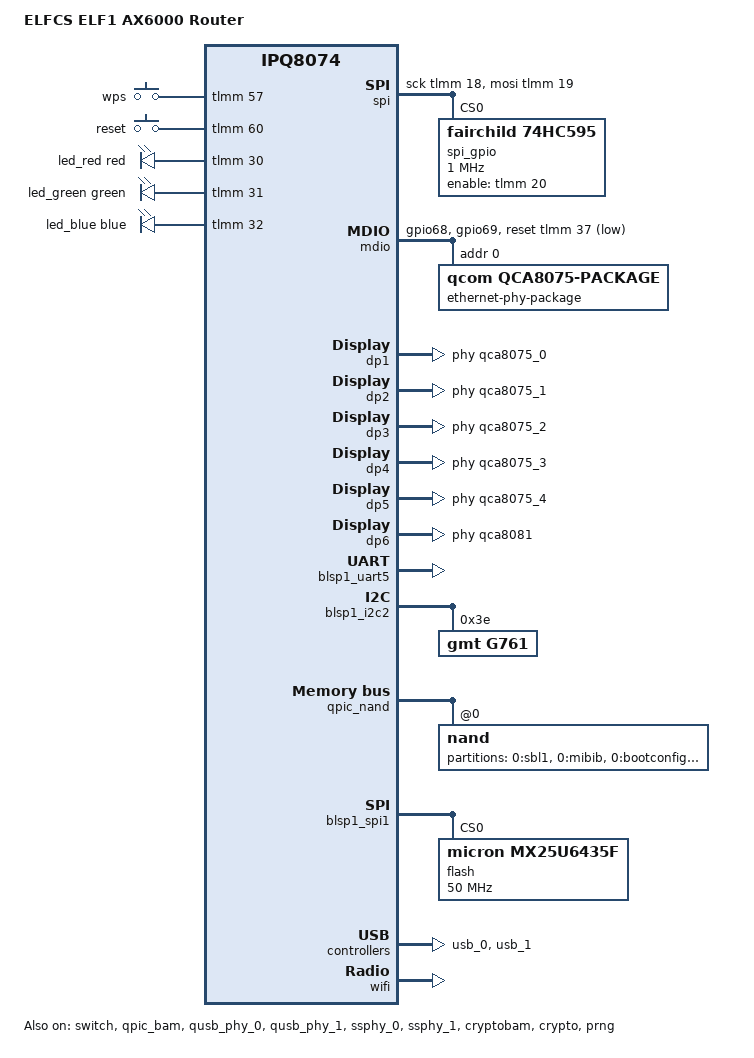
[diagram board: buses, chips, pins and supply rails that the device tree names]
// SPDX-License-Identifier: GPL-2.0-or-later OR MIT

/dts-v1/;

#include "ipq8074.dtsi"
#include "ipq8074-ess.dtsi"
#include "ipq8074-nss.dtsi"
#include "ipq8074-hk-cpu.dtsi"
#include <dt-bindings/input/input.h>
#include <dt-bindings/gpio/gpio.h>
#include <dt-bindings/leds/common.h>

/ {
	model = "ELFCS ELF1 AX6000 Router";
	compatible = "elfcs,elf1", "qcom,ipq8074";

	aliases {
		serial0 = &blsp1_uart5;

		led-boot = &led_red;
		led-failsafe = &led_red;
		led-running = &led_red;
		led-upgrade = &led_red;
		label-mac-device = &dp5;
	};

	chosen {
		stdout-path = "serial0:115200n8";
		bootargs-append = " coherent_pool=2M swiotlb=noforce";
	};

	keys {
		compatible = "gpio-keys";

		wps {
			label = "wps";
			gpios = <&tlmm 57 GPIO_ACTIVE_HIGH>;
			linux,code = <KEY_WPS_BUTTON>;
		};

		reset {
			label = "reset";
			gpios = <&tlmm 60 GPIO_ACTIVE_HIGH>;
			linux,code = <KEY_RESTART>;
		};
	};

	spi {
		compatible = "spi-gpio";
		#address-cells = <1>;
		#size-cells = <0>;

		sck-gpios = <&tlmm 18 GPIO_ACTIVE_HIGH>;
		mosi-gpios = <&tlmm 19 GPIO_ACTIVE_HIGH>;

		spi_gpio: spi_gpio@0 {
			compatible = "fairchild,74hc595";
			reg = <0>;
			gpio-controller;
			#gpio-cells = <2>;
			registers-number = <2>;
			enable-gpios = <&tlmm 20 GPIO_ACTIVE_HIGH>;
			spi-max-frequency = <1000000>;
		};
	};

	leds {
		compatible = "gpio-leds";
		pinctrl-0 = <&led_pins>;
		pinctrl-names = "default";

		led_red: red {
			gpios = <&tlmm 30 GPIO_ACTIVE_HIGH>;
			color = <LED_COLOR_ID_RED>;
			default-state = "on";
		};

		led_green: green {
			gpios = <&tlmm 31 GPIO_ACTIVE_HIGH>;
			color = <LED_COLOR_ID_GREEN>;
			default-state = "off";
		};

		led_blue: blue {
			gpios = <&tlmm 32 GPIO_ACTIVE_HIGH>;
			color = <LED_COLOR_ID_BLUE>;
			default-state = "off";
		};
	};
};

&tlmm {
	mdio_pins: mdio-pins {
		mdc {
			pins = "gpio68";
			function = "mdc";
			drive-strength = <8>;
			bias-pull-up;
		};

		mdio {
			pins = "gpio69";
			function = "mdio";
			drive-strength = <8>;
			bias-pull-up;
		};
	};

	led_pins: led-state {
		power {
			pins = "gpio30";
			function = "gpio";
			drive-strength = <8>;
			bias-pull-up;
		};

		default_off {
			pins = "gpio31", "gpio32";
			function = "gpio";
			drive-strength = <8>;
			bias-pull-down;
		};
	};
};

&mdio {
	status = "okay";

	pinctrl-0 = <&mdio_pins>;
	pinctrl-names = "default";
	reset-gpios = <&tlmm 37 GPIO_ACTIVE_LOW>;

	ethernet-phy-package@0 {
		#address-cells = <1>;
		#size-cells = <0>;
		reg = <0>;

		compatible = "qcom,qca8075-package";

		qca8075_0: ethernet-phy@0 {
			compatible = "ethernet-phy-ieee802.3-c22";
			reg = <0>;
		};

		qca8075_1: ethernet-phy@1 {
			compatible = "ethernet-phy-ieee802.3-c22";
			reg = <1>;
		};

		qca8075_2: ethernet-phy@2 {
			compatible = "ethernet-phy-ieee802.3-c22";
			reg = <2>;
		};

		qca8075_3: ethernet-phy@3 {
			compatible = "ethernet-phy-ieee802.3-c22";
			reg = <3>;
		};

		qca8075_4: ethernet-phy@4 {
			compatible = "ethernet-phy-ieee802.3-c22";
			reg = <4>;
			reset-deassert-us = <10000>;
			reset-gpios = <&tlmm 25 GPIO_ACTIVE_LOW>;
		};

		qca8081: ethernet-phy@28 {
			compatible = "ethernet-phy-id004d.d101";
			reg = <28>;
			reset-deassert-us = <10000>;
			reset-gpios = <&tlmm 44 GPIO_ACTIVE_LOW>;
		};
	};

};

&switch {
	status = "okay";

	switch_lan_bmp = <(ESS_PORT1 | ESS_PORT2 | ESS_PORT3 | ESS_PORT4 | ESS_PORT5)>; /* lan port bitmap */
	switch_wan_bmp = <ESS_PORT6>; /* wan port bitmap */
	switch_mac_mode = <MAC_MODE_PSGMII>;
	switch_mac_mode1 = <MAC_MODE_SGMII_CHANNEL0>;
	switch_mac_mode2 = <MAC_MODE_SGMII_CHANNEL0>;

	qcom,port_phyinfo {
		port@1 {
			port_id = <1>;
			phy_address = <0>;
		};

		port@2 {
			port_id = <2>;
			phy_address = <1>;
		};

		port@3 {
			port_id = <3>;
			phy_address = <2>;
		};

		port@4 {
			port_id = <4>;
			phy_address = <3>;
		};

		port@5 {
			port_id = <5>;
			phy_address = <4>;
			port_mac_sel = "QGMAC_PORT";
		};

		port@6 {
			port_id = <6>;
			phy_address = <28>;
			port_mac_sel = "QGMAC_PORT";
		};
	};
};

&edma {
	status = "okay";
};

&dp1 {
	status = "okay";
	phy-handle = <&qca8075_0>;
	label = "lan1";
	nvmem-cells = <&macaddr_lan>;
	nvmem-cell-names = "mac-address";
};

&dp2 {
	status = "okay";
	phy-handle = <&qca8075_1>;
	label = "lan2";
	nvmem-cells = <&macaddr_lan>;
	nvmem-cell-names = "mac-address";
};

&dp3 {
	status = "okay";
	phy-handle = <&qca8075_2>;
	label = "lan3";
	nvmem-cells = <&macaddr_lan>;
	nvmem-cell-names = "mac-address";
};

&dp4 {
	status = "okay";
	phy-handle = <&qca8075_3>;
	label = "lan4";
	nvmem-cells = <&macaddr_lan>;
	nvmem-cell-names = "mac-address";
};

&dp5 {
	status = "okay";
	phy-handle = <&qca8075_4>;
	qcom,mactype = <1>;
	qcom,link-poll = <1>;
	qcom,phy-mdio-addr = <4>;
	nvmem-cells = <&macaddr_wan>;
	nvmem-cell-names = "mac-address";
};

&dp6 {
	status = "okay";
	phy-handle = <&qca8081>;
	label = "wan";
	qcom,link-poll = <1>;
	qcom,phy-mdio-addr = <28>;
	nvmem-cells = <&macaddr_wan>;
	nvmem-cell-names = "mac-address";
};

&blsp1_uart5 {
	status = "okay";
};

&blsp1_i2c2 {
	status = "okay";

	g761@3e {
		compatible = "gmt,g761";
		reg = <0x3e>;
		fan_gear_mode = <0>;
		fan_start = <1>;
		pwm_polarity = <0>;
	};
};

&qpic_bam {
	status = "okay";
};

&qpic_nand {
	status = "okay";

	nand@0 {
		#address-cells = <1>;
		#size-cells = <1>;
		reg = <0>;
		nand-ecc-strength = <4>;
		nand-ecc-step-size = <512>;
		nand-bus-width = <8>;

		partitions {
			compatible = "fixed-partitions";
			#address-cells = <1>;
			#size-cells = <1>;

			partition@0 {
				label = "0:sbl1";
				reg = <0x00 0x100000>;
				read-only;
			};

			partition@100000 {
				label = "0:mibib";
				reg = <0x100000 0x100000>;
				read-only;
			};

			partition@200000 {
				label = "0:bootconfig";
				reg = <0x200000 0x80000>;
				read-only;
			};

			partition@280000 {
				label = "0:bootconfig_1";
				reg = <0x280000 0x80000>;
				read-only;
			};

			partition@300000 {
				label = "0:qsee";
				reg = <0x300000 0x300000>;
				read-only;
			};

			partition@600000 {
				label = "0:qsee_1";
				reg = <0x600000 0x300000>;
				read-only;
			};

			partition@900000 {
				label = "0:devcfg";
				reg = <0x900000 0x80000>;
				read-only;
			};

			partition@980000 {
				label = "0:devcfg_1";
				reg = <0x980000 0x80000>;
				read-only;
			};

			partition@a00000 {
				label = "0:apdp";
				reg = <0xa00000 0x80000>;
				read-only;
			};

			partition@a80000 {
				label = "0:apdp_1";
				reg = <0xa80000 0x80000>;
				read-only;
			};

			partition@b00000 {
				label = "0:rpm";
				reg = <0xb00000 0x80000>;
				read-only;
			};

			partition@b80000 {
				label = "0:rpm_1";
				reg = <0xb80000 0x80000>;
				read-only;
			};

			partition@c00000 {
				label = "0:cdt";
				reg = <0xc00000 0x80000>;
				read-only;
			};

			partition@c80000 {
				label = "0:cdt_1";
				reg = <0xc80000 0x80000>;
				read-only;
			};

			partition@d00000 {
				label = "0:appsblenv";
				reg = <0xd00000 0x80000>;
			};

			partition@d80000 {
				label = "0:appsbl";
				reg = <0xd80000 0x100000>;
				read-only;
			};

			partition@e80000 {
				label = "0:appsbl_1";
				reg = <0xe80000 0x100000>;
				read-only;
			};

			partition@f80000 {
				label = "0:art";
				reg = <0xf80000 0x80000>;
				read-only;
			};

			partition@1000000 {
				label = "rootfs";
				reg = <0x1000000 0xeb00000>;
			};

			partition@fb00000 {
				label = "0:wififw";
				reg = <0xfb00000 0x0900000>;
				read-only;
			};

			partition@10400000 {
				label = "rootfs_1";
				reg = <0x10400000 0xeb00000>;
			};

			partition@1ef00000 {
				label = "0:wififw_1";
				reg = <0x1ef00000 0x0900000>;
				read-only;
			};

			partition@1f800000 {
				label = "0:ethphyfw";
				reg = <0x1f800000 0x080000>;

				nvmem-layout {
					compatible = "fixed-layout";
					#address-cells = <1>;
					#size-cells = <1>;

					macaddr_lan: macaddr@0 {
						reg = <0x0 0x6>;
					};

					macaddr_wan: macaddr@1 {
						reg = <0x6 0x6>;
					};
				};
			};
		};
	};
};

&blsp1_spi1 {
	pinctrl-0 = <&spi_0_pins>;
	pinctrl-names = "default";
	status = "okay";

	flash@0 {
		#address-cells = <1>;
		#size-cells = <1>;
		reg = <0>;
		linux,modalias = "m25p80", "mx25u6435f", "mx30uf2g18ac", "n25q128a11";
		compatible = "micron, mx25u6435f", "jedec,spi-nor";
		spi-max-frequency = <50000000>;
		use-default-sizes;
	};
};

&qusb_phy_0 {
	status = "okay";
};

&qusb_phy_1 {
	status = "okay";
};

&ssphy_0 {
	status = "okay";
};

&ssphy_1 {
	status = "okay";
};

&usb_0 {
	status = "okay";
};

&usb_1 {
	status = "okay";
};

&wifi{
	status = "okay";

	qcom,ath11k-calibration-variant = "ELFCS-ELF1";
};

&cryptobam {
	status = "okay";
};

&crypto {
	status = "okay";
};

&prng {
	status = "okay";
};
